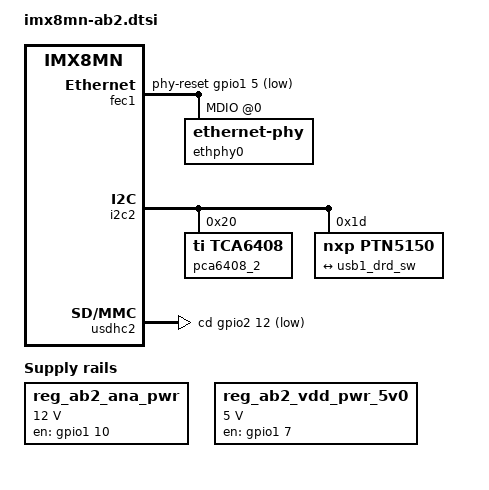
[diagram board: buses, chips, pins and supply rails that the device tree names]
// SPDX-License-Identifier: GPL-2.0+
/*
 * Copyright 2022 NXP
 */

/ {
	/delete-node/ dsi-host;
	/delete-node/ ir-receiver;
	/delete-node/ rm67199_panel;

	gpio-leds {
		panel {
			label = "green:panel";
			gpios = <&pca6408_2 0 GPIO_ACTIVE_LOW>;
			default-state = "on";
		};
	};

	reg_ab2_ana_pwr: regulator-ab2-ana-pwr {
		compatible = "regulator-fixed";
		regulator-name = "ANA_12V0";
		pinctrl-names = "default";
		pinctrl-0 = <&pinctrl_ab2_ana_pwr>;
		regulator-min-microvolt = <12000000>;
		regulator-max-microvolt = <12000000>;
		gpio = <&gpio1 10 GPIO_ACTIVE_HIGH>;
		enable-active-high;
	};

	reg_ab2_vdd_pwr_5v0: regulator-ab2-vdd-pwr-5v0 {
		compatible = "regulator-fixed";
		regulator-name = "VDD_5V0";
		regulator-min-microvolt = <5000000>;
		regulator-max-microvolt = <5000000>;
		gpio = <&gpio1 7 GPIO_ACTIVE_HIGH>;
		regulator-always-on;
		regulator-boot-on;
		enable-active-high;
	};
};

&fec1 {
	phy-reset-gpios = <&gpio1 5 GPIO_ACTIVE_LOW>;

	mdio {
		ethphy0: ethernet-phy@0 {
			max-speed = <100>;
		};
	};
};

&i2c2 {
	/delete-node/ adv7535@3d;
	/delete-node/ tcpc@50;

	pca6408_2: gpio@20 {
		compatible = "ti,tca6408";
		reg = <0x20>;
		gpio-controller;
		#gpio-cells = <2>;
	};

	ptn5150: tcpc@1d {
		compatible = "nxp,ptn5150";
		reg = <0x1d>;
		status = "okay";

		port {
			typec1_dr_sw: endpoint {
				remote-endpoint = <&usb1_drd_sw>;
			};
		};

		typec1_con: connector {
			compatible = "usb-c-connector";
			label = "USB-C";
			power-role = "dual";
			data-role = "dual";
			try-power-role = "sink";
			source-pdos = <PDO_FIXED(5000, 3000, PDO_FIXED_USB_COMM)>;
			sink-pdos = <PDO_FIXED(5000, 3000, PDO_FIXED_USB_COMM)
				PDO_VAR(5000, 20000, 3000)>;
			op-sink-microwatt = <15000000>;
			self-powered;
		};
	};
};

&iomuxc {
	pinctrl_fec1: fec1grp {
		fsl,pins = <
			MX8MN_IOMUXC_ENET_MDC_ENET1_MDC		0x3
			MX8MN_IOMUXC_ENET_MDIO_ENET1_MDIO	0x3
			MX8MN_IOMUXC_ENET_TD3_ENET1_RGMII_TD3	0x1f
			MX8MN_IOMUXC_ENET_TD2_ENET1_RGMII_TD2	0x1f
			MX8MN_IOMUXC_ENET_TD1_ENET1_RGMII_TD1	0x1f
			MX8MN_IOMUXC_ENET_TD0_ENET1_RGMII_TD0	0x1f
			MX8MN_IOMUXC_ENET_RD3_ENET1_RGMII_RD3	0x91
			MX8MN_IOMUXC_ENET_RD2_ENET1_RGMII_RD2	0x91
			MX8MN_IOMUXC_ENET_RD1_ENET1_RGMII_RD1	0x91
			MX8MN_IOMUXC_ENET_RD0_ENET1_RGMII_RD0	0x91
			MX8MN_IOMUXC_ENET_TXC_ENET1_RGMII_TXC	0x1f
			MX8MN_IOMUXC_ENET_RXC_ENET1_RGMII_RXC	0x91
			MX8MN_IOMUXC_ENET_RX_CTL_ENET1_RGMII_RX_CTL	0x91
			MX8MN_IOMUXC_ENET_TX_CTL_ENET1_RGMII_TX_CTL	0x1f
			MX8MN_IOMUXC_GPIO1_IO05_GPIO1_IO5	0x16
		>;
	};

	pinctrl_ab2_ana_pwr: ab2anapwrgrp {
		fsl,pins = <
			MX8MN_IOMUXC_GPIO1_IO10_GPIO1_IO10	0x41
		>;
	};

	pinctrl_ab2_vdd_pwr_5v0: ab2vddpwr5v0grp {
		fsl,pins = <
			MX8MN_IOMUXC_GPIO1_IO07_GPIO1_IO7	0x41
		>;
	};

	pinctrl_usdhc2_gpio: usdhc2gpiogrp {
		fsl,pins = <
			MX8MN_IOMUXC_SD2_CD_B_GPIO2_IO12	0x1c4
		>;
	};
};

&lcdif {
	status = "disabled";
};

&mipi_dsi {
	status = "disabled";

	/delete-node/ port@1;
	/delete-node/ port@2;
};

&usdhc2 {
	cd-gpios = <&gpio2 12 GPIO_ACTIVE_LOW>;
};

&usbotg1 {
	extcon = <&ptn5150>;
};
